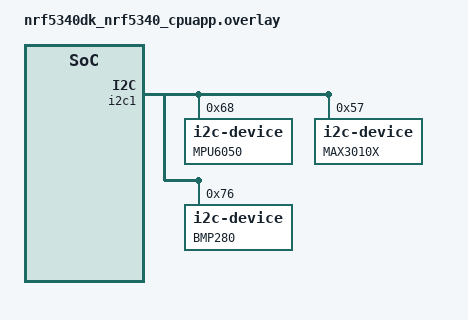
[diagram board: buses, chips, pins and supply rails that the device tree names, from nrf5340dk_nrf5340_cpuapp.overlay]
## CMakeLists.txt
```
cmake_minimum_required(VERSION 3.20.0)
find_package(Zephyr REQUIRED HINTS $ENV{ZEPHYR_BASE})

project(all_in_main)

target_sources(app PRIVATE src/main.c)
FILE(GLOB app_sources src/*.c)
target_sources(app PRIVATE ${app_sources})
```

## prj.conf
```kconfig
CONFIG_CLOCK_CONTROL_NRF_K32SRC_RC=y ###
CONFIG_I2C=y
CONFIG_PRINTK=y
CONFIG_FPU=y

CONFIG_SERIAL=n
CONFIG_LOG_BACKEND_UART=n
CONFIG_UART_CONSOLE=n
CONFIG_USE_SEGGER_RTT=y
CONFIG_LOG_BACKEND_RTT=y
CONFIG_RTT_CONSOLE=y
#CONFIG_CONSOLE=y
```

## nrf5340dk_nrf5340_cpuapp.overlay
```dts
// To get started, press Ctrl+Space to bring up the completion menu and view the available nodes.

// You can also use the buttons in the sidebar to perform actions on nodes.
// Actions currently available include:

// * Enabling / disabling the node
// * Adding the bus to a bus
// * Removing the node
// * Connecting ADC channels

// For more help, browse the DeviceTree documentation at https://docs.zephyrproject.org/latest/guides/dts/index.html
// You can also visit the nRF DeviceTree extension documentation at https://nrfconnect.github.io/vscode-nrf-connect/devicetree/nrfdevicetree.html
// below configuration for mpu6050
&i2c1{
    mpu6050:mpu6050@68{
        compatible = "i2c-device";
        reg = < 0x68 >;
        status = "okay";
        label = "MPU6050";
    };
};
// below configuration for max301012
&i2c1 {
    max3010x: max3010x@57{
        compatible = "i2c-device";
        reg = < 0x57 >;
        label = "MAX3010X";
        status = "okay";
    };
};
// below configuration for bmp280
&i2c1{
    bmp280:bmp280@76{
        compatible = "i2c-device";
        reg = < 0x76 >;
        status = "okay";
        label = "BMP280";
    };
};
```

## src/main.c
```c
#include <zephyr/kernel.h> // <>
#include "max30102.h" // ""
#include "mpu6050.h" // ""
#include "bmp280.h" // ""
#include <string.h> // <>

int main(void)
{
  //////////////////////// | Start General initilization | ///////////////////////////////////////////
  // No still
  ////////////////////////////// | End of General initilization | /////////////////////////////////////

  //////////////////////// | Start BPM280 initilization | ///////////////////////////////////////////
  
  while(!(bmp280_config())){
    printk("\033[31mFaild BPM280 initialization!!!\033[0m\r\n");
    k_msleep(1000);
  }
  
  ////////////////////////////// | End of BMP280 initilization | /////////////////////////////////////

  ////////////////////////////////| Start mpu6050 initilization | /////////////////////////////////////
  
  init_mpu6050();
  
  /////////////////////////////// | End of mpu6050 initilization | //////////////////////////////////////
  /////////////////////////////// | Start max30102 initilization | //////////////////////////////////////
  
  while(!(max30102_Begin())){
    printk("\033[31mFaild MAX30102 initialization!!!\033[0m\r\n");
    k_msleep(1000);
  }
  
  ////////////////////////////// | End of max30102 initilization | ///////////////////////////////////////
  k_msleep(500);
  while(1){
    ///////////////////////////////////| Start BMP280 work | //////////////////////////////////////////
    
    printk("\033[32m/////////////////////////////////////////////| BMP280 Sensor | ////////////////////////////////////////////////////\033[0m\r\n");
    u32 temperature=0,pressure=0;
    bmp280_read(&temperature,&pressure);
    printk("[INFO] Temperature: %u degC, Pressure: %d pa \r\n", temperature, pressure);
    k_msleep(1000);
    
    ///////////////////////////////////| End of BMP280 work | //////////////////////////////////////////
    ////////////////////////////////////| Start mpu6050 work | //////////////////////////////////////////
    
    step_counter(); // its have while loop
    
    ///////////////////////////////////| End of mpu6050 work | //////////////////////////////////////////
    ///////////////////////////////////| Start max30102 work | //////////////////////////////////////////
    
    printk("\033[32m/////////////////////////////////////////////| MAX30102 Sensor | ////////////////////////////////////////////////////\033[0m\r\n");
    char Stress[60];
    uint32_t hr=0,spo2=0;
    printk("[INFO] Red = %u | IR = %u\r\n", max30102_GetRed(), max30102_GetIR());
    if (get_hr_spo2(&hr,&spo2)){
      printk("\x1b[32m[INFO] Heart rate is %u | SPO2 is %u\x1b[0m\r\n",hr,spo2);
      k_msleep(3000);
    }
    else{
      printk("\x1b[33m[INFO] For heart rate place your finger ....!!!\x1b[0m\r\n");
    }
    printk("[INFO] Calculating stress\r\n");
    get_stress_level(Stress);
    printk("[INFO] %s\r\n",Stress);
    k_msleep(3000); 
    
    ////////////////////////////// | End of max30102 work | ///////////////////////////////////////
    
  }
  return 0;
}
//////////////////////////////////////// | End of Main Code  | ////////////////////////////////////////////////
```

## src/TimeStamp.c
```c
#include <Zephyr/kernel.h>
#include <stdio.h>
#include <stdint.h>

#define for_micro_second 1 // For micro second time stamp
#define for_milli_second 1000 // For micro second time stamp

void init_timeStamp(void)
{
    NRF_TIMER0->MODE = TIMER_MODE_MODE_Timer;  // Set the TIMER mode to Timer Mode
    NRF_TIMER0->PRESCALER = 4;                // Set the prescaler to 2^4 (16)
    NRF_TIMER0->TASKS_CLEAR = 1;              // Clear the timer
    NRF_TIMER0->BITMODE = TIMER_BITMODE_BITMODE_32Bit; // 32-bit timer mode
    NRF_TIMER0->TASKS_START = 1;             // Start the timer
} // End of void timer_init(void)
///////| (34) |///////////
uint32_t get_uTimeStamp(void)
{
    NRF_TIMER0->TASKS_CAPTURE[1] = 1;  // Trigger a capture event on CC[1]
    return NRF_TIMER0->CC[1]/for_micro_second;  // Read the captured value from CC[1]
} // End of uint32_t get_timestamp(void)
uint32_t get_mTimeStamp(void)
{
    NRF_TIMER0->TASKS_CAPTURE[1] = 1;  // Trigger a capture event on CC[1]
    return NRF_TIMER0->CC[1]/for_milli_second;  // Read the captured value from CC[1]
} // End of uint32_t get_timestamp(void)
```

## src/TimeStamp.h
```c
#ifndef USTIMESTAMP_H_
#define USTIMESTAMP_H_

#include <stdio.h>
#include <stdint.h>

void init_timeStamp(void);
uint32_t get_uTimeStamp(void);
uint32_t get_mTimeStamp(void);

#endif /* USTIMESTAMP_H_ */
```

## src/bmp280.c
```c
#include "bmp280.h"
#include <zephyr/drivers/i2c.h>

static struct bmp280_t *p_bmp280; /**< pointer to BMP280 */
u32 v_actual_press_combined_u32;
s32 v_actual_temp_combined_s32;
//  I2C init
#define I2C1_NODE DT_NODELABEL(bmp280)
static const struct i2c_dt_spec bmp_spec =  I2C_DT_SPEC_GET(I2C1_NODE);

struct bmp280_t bmp280;

BMP280_RETURN_FUNCTION_TYPE bmp280_init(struct bmp280_t *bmp280)
{
	/* variable used to return communication result*/
	BMP280_RETURN_FUNCTION_TYPE com_rslt = ERROR;
	u8 v_data_u8 = BMP280_INIT_VALUE;
	u8 v_chip_id_read_count = BMP280_CHIP_ID_READ_COUNT;

	p_bmp280 = bmp280;/* assign BMP280 ptr */

	while (v_chip_id_read_count > 0) {
		/* read chip id */
		com_rslt = p_bmp280->BMP280_BUS_READ_FUNC(BMP280_CHIP_ID_REG, &v_data_u8,
				BMP280_GEN_READ_WRITE_DATA_LENGTH);
		/* Check for the correct chip id */
		if ((v_data_u8 == BMP280_CHIP_ID1)
			|| (v_data_u8 == BMP280_CHIP_ID2)
			|| (v_data_u8 == BMP280_CHIP_ID3))
			break;
		v_chip_id_read_count--;
		/* Delay added concerning the low speed of power up system to
		facilitate the proper reading of the chip ID */
		p_bmp280->delay_msec(BMP280_REGISTER_READ_DELAY);
	}

	/*assign chip ID to the global structure*/
	p_bmp280->chip_id = v_data_u8;
	/*com_rslt status of chip ID read*/
	com_rslt = (v_chip_id_read_count == BMP280_INIT_VALUE) ?
			BMP280_CHIP_ID_READ_FAIL : BMP280_CHIP_ID_READ_SUCCESS;

	if (com_rslt == BMP280_CHIP_ID_READ_SUCCESS) {
		/* readout bmp280 calibration parameter structure */
		com_rslt += bmp280_get_calib_param();
	}
	return com_rslt;
}
s32 bmp280_compensate_temperature_int32(s32 v_uncomp_temperature_s32)
{
	s32 v_x1_u32r = BMP280_INIT_VALUE;
	s32 v_x2_u32r = BMP280_INIT_VALUE;
	s32 temperature = BMP280_INIT_VALUE;
	/* calculate true temperature*/
	/*calculate x1*/
	v_x1_u32r = ((((v_uncomp_temperature_s32
			>> BMP280_SHIFT_BIT_POSITION_BY_03_BITS)
			- ((s32)p_bmp280->calib_param.dig_T1
			<< BMP280_SHIFT_BIT_POSITION_BY_01_BIT)))
			* ((s32)p_bmp280->calib_param.dig_T2))
			>> BMP280_SHIFT_BIT_POSITION_BY_11_BITS;
	/*calculate x2*/
	v_x2_u32r = (((((v_uncomp_temperature_s32
			>> BMP280_SHIFT_BIT_POSITION_BY_04_BITS)
			- ((s32)p_bmp280->calib_param.dig_T1))
			* ((v_uncomp_temperature_s32
			>> BMP280_SHIFT_BIT_POSITION_BY_04_BITS)
			- ((s32)p_bmp280->calib_param.dig_T1)))
			>> BMP280_SHIFT_BIT_POSITION_BY_12_BITS)
			* ((s32)p_bmp280->calib_param.dig_T3))
			>> BMP280_SHIFT_BIT_POSITION_BY_14_BITS;
	/*calculate t_fine*/
	p_bmp280->calib_param.t_fine = v_x1_u32r + v_x2_u32r;
	/*calculate temperature*/
	temperature = (p_bmp280->calib_param.t_fine * 5 + 128)
			>> BMP280_SHIFT_BIT_POSITION_BY_08_BITS;

	return temperature;
}
BMP280_RETURN_FUNCTION_TYPE bmp280_read_uncomp_pressure(
		s32 *v_uncomp_pressure_s32)
{
	/* variable used to return communication result*/
	BMP280_RETURN_FUNCTION_TYPE com_rslt = ERROR;
	/* Array holding the MSB and LSb value
	 a_data_u8[0] - Pressure MSB
	 a_data_u8[1] - Pressure LSB
	 a_data_u8[2] - Pressure LSB
	 */
	u8 a_data_u8[BMP280_PRESSURE_DATA_SIZE] = {BMP280_INIT_VALUE,
			BMP280_INIT_VALUE, BMP280_INIT_VALUE};
	/* check the p_bmp280 structure pointer as NULL*/
	if (p_bmp280 == BMP280_NULL) {
		com_rslt = E_BMP280_NULL_PTR;
	} else {
		com_rslt = p_bmp280->BMP280_BUS_READ_FUNC(
				BMP280_PRESSURE_MSB_REG, a_data_u8,
				BMP280_PRESSURE_DATA_LENGTH);
		*v_uncomp_pressure_s32 = (s32)((((u32)(
				a_data_u8[BMP280_PRESSURE_MSB_DATA]))
				<< BMP280_SHIFT_BIT_POSITION_BY_12_BITS)
				| (((u32)(a_data_u8[BMP280_PRESSURE_LSB_DATA]))
				<< BMP280_SHIFT_BIT_POSITION_BY_04_BITS)
				| ((u32)a_data_u8[BMP280_PRESSURE_XLSB_DATA]
				>> BMP280_SHIFT_BIT_POSITION_BY_04_BITS));
	}
	return com_rslt;
}
u32 bmp280_compensate_pressure_int32(s32 v_uncomp_pressure_s32)
{
	s32 v_x1_u32r = BMP280_INIT_VALUE;
	s32 v_x2_u32r = BMP280_INIT_VALUE;
	u32 v_pressure_u32 = BMP280_INIT_VALUE;
	/* calculate x1*/
	v_x1_u32r = (((s32)p_bmp280->calib_param.t_fine)
			>> BMP280_SHIFT_BIT_POSITION_BY_01_BIT) - (s32)64000;
	/* calculate x2*/
	v_x2_u32r = (((v_x1_u32r >> BMP280_SHIFT_BIT_POSITION_BY_02_BITS)
			* (v_x1_u32r >> BMP280_SHIFT_BIT_POSITION_BY_02_BITS))
			>> BMP280_SHIFT_BIT_POSITION_BY_11_BITS)
			* ((s32)p_bmp280->calib_param.dig_P6);
	v_x2_u32r = v_x2_u32r + ((v_x1_u32r *
			((s32)p_bmp280->calib_param.dig_P5))
			<< BMP280_SHIFT_BIT_POSITION_BY_01_BIT);
	v_x2_u32r = (v_x2_u32r >> BMP280_SHIFT_BIT_POSITION_BY_02_BITS)
			+ (((s32)p_bmp280->calib_param.dig_P4)
			<< BMP280_SHIFT_BIT_POSITION_BY_16_BITS);
	/* calculate x1*/
	v_x1_u32r = (((p_bmp280->calib_param.dig_P3
			* (((v_x1_u32r
			>> BMP280_SHIFT_BIT_POSITION_BY_02_BITS) * (v_x1_u32r
			>> BMP280_SHIFT_BIT_POSITION_BY_02_BITS))
			>> BMP280_SHIFT_BIT_POSITION_BY_13_BITS))
			>> BMP280_SHIFT_BIT_POSITION_BY_03_BITS)
			+ ((((s32)p_bmp280->calib_param.dig_P2)
			* v_x1_u32r)
			>> BMP280_SHIFT_BIT_POSITION_BY_01_BIT))
			>> BMP280_SHIFT_BIT_POSITION_BY_18_BITS;
	v_x1_u32r = ((((32768 + v_x1_u32r))
			* ((s32)p_bmp280->calib_param.dig_P1))
			>> BMP280_SHIFT_BIT_POSITION_BY_15_BITS);
	/* calculate pressure*/
	v_pressure_u32 = (((u32)(((s32)1048576) - v_uncomp_pressure_s32)
			- (v_x2_u32r >> BMP280_SHIFT_BIT_POSITION_BY_12_BITS)))
			* 3125;
	/* check overflow*/
	if (v_pressure_u32 < 0x80000000)
		/* Avoid exception caused by division by zero */
		if (v_x1_u32r != BMP280_INIT_VALUE)
			v_pressure_u32 = (v_pressure_u32
					<< BMP280_SHIFT_BIT_POSITION_BY_01_BIT)
					/ ((u32)v_x1_u32r);
		else
			return BMP280_INVALID_DATA;
	else
	/* Avoid exception caused by division by zero */
	if (v_x1_u32r != BMP280_INIT_VALUE)
		v_pressure_u32 = (v_pressure_u32 / (u32)v_x1_u32r) * 2;
	else
		return BMP280_INVALID_DATA;
	/* calculate x1*/
	v_x1_u32r = (((s32)p_bmp280->calib_param.dig_P9) * ((s32)(
			((v_pressure_u32
			>> BMP280_SHIFT_BIT_POSITION_BY_03_BITS)
			* (v_pressure_u32
			>> BMP280_SHIFT_BIT_POSITION_BY_03_BITS))
			>> BMP280_SHIFT_BIT_POSITION_BY_13_BITS)))
			>> BMP280_SHIFT_BIT_POSITION_BY_12_BITS;
	/* calculate x2*/
	v_x2_u32r = (((s32)(v_pressure_u32 >>
			BMP280_SHIFT_BIT_POSITION_BY_02_BITS))
			* ((s32)p_bmp280->calib_param.dig_P8))
			>> BMP280_SHIFT_BIT_POSITION_BY_13_BITS;
	/* calculate true pressure*/
	v_pressure_u32 = (u32)((s32)v_pressure_u32 + ((v_x1_u32r + v_x2_u32r
			+ p_bmp280->calib_param.dig_P7)
			>> BMP280_SHIFT_BIT_POSITION_BY_04_BITS));

	return v_pressure_u32;
}
BMP280_RETURN_FUNCTION_TYPE bmp280_read_uncomp_pressure_temperature(
		s32 *v_uncomp_pressure_s32, s32 *v_uncomp_temperature_s32)
{
	/* variable used to return communication result*/
	BMP280_RETURN_FUNCTION_TYPE com_rslt = ERROR;
	u8 a_data_u8[BMP280_ALL_DATA_FRAME_LENGTH] = {BMP280_INIT_VALUE,
			BMP280_INIT_VALUE, BMP280_INIT_VALUE, BMP280_INIT_VALUE,
			BMP280_INIT_VALUE, BMP280_INIT_VALUE};
	/* check the p_bmp280 structure pointer as NULL*/
	if (p_bmp280 == BMP280_NULL) {
		com_rslt = E_BMP280_NULL_PTR;
	} else {
                        com_rslt = p_bmp280->BMP280_BUS_READ_FUNC(
				BMP280_PRESSURE_MSB_REG, a_data_u8,
				BMP280_DATA_FRAME_SIZE);
                /*Pressure*/
		*v_uncomp_pressure_s32 = (s32)((((u32)(
				a_data_u8[BMP280_DATA_FRAME_PRESSURE_MSB_BYTE]))
				<< BMP280_SHIFT_BIT_POSITION_BY_12_BITS)
				| (((u32)(
				a_data_u8[BMP280_DATA_FRAME_PRESSURE_LSB_BYTE]))
				<< BMP280_SHIFT_BIT_POSITION_BY_04_BITS)
				| ((u32)a_data_u8[
				BMP280_DATA_FRAME_PRESSURE_XLSB_BYTE]
				>> BMP280_SHIFT_BIT_POSITION_BY_04_BITS));

		/* Temperature */
		*v_uncomp_temperature_s32 = (s32)((((u32)(a_data_u8[
				BMP280_DATA_FRAME_TEMPERATURE_MSB_BYTE]))
				<< BMP280_SHIFT_BIT_POSITION_BY_12_BITS)
				| (((u32)(a_data_u8[
				BMP280_DATA_FRAME_TEMPERATURE_LSB_BYTE]))
				<< BMP280_SHIFT_BIT_POSITION_BY_04_BITS)
				| ((u32)a_data_u8[
				BMP280_DATA_FRAME_TEMPERATURE_XLSB_BYTE]
				>> BMP280_SHIFT_BIT_POSITION_BY_04_BITS));
	}
	return com_rslt;
}
BMP280_RETURN_FUNCTION_TYPE bmp280_read_pressure_temperature(
		u32 *v_pressure_u32, s32 *v_temperature_s32)
{
	/* variable used to return communication result*/
	BMP280_RETURN_FUNCTION_TYPE com_rslt = ERROR;
	s32 v_uncomp_pressure_s32 = BMP280_INIT_VALUE;
	s32 v_uncomp_temperature_s32 = BMP280_INIT_VALUE;
	/* check the p_bmp280 structure pointer as NULL*/
	if (p_bmp280 == BMP280_NULL) {
		com_rslt = E_BMP280_NULL_PTR;
	} else {
		/* read uncompensated pressure and temperature*/
		com_rslt = bmp280_read_uncomp_pressure_temperature(
				&v_uncomp_pressure_s32,
				&v_uncomp_temperature_s32);
		/* read true pressure and temperature*/
		*v_temperature_s32 = bmp280_compensate_temperature_int32(
				v_uncomp_temperature_s32);
		*v_pressure_u32 = bmp280_compensate_pressure_int32(
				v_uncomp_pressure_s32);
	}
	return com_rslt;
}
BMP280_RETURN_FUNCTION_TYPE bmp280_get_calib_param(void)
{
	/* variable used to return communication result*/
	BMP280_RETURN_FUNCTION_TYPE com_rslt = ERROR;
	u8 a_data_u8[BMP280_CALIB_DATA_SIZE] = {BMP280_INIT_VALUE,
			BMP280_INIT_VALUE, BMP280_INIT_VALUE, BMP280_INIT_VALUE,
			BMP280_INIT_VALUE, BMP280_INIT_VALUE, BMP280_INIT_VALUE,
			BMP280_INIT_VALUE, BMP280_INIT_VALUE, BMP280_INIT_VALUE,
			BMP280_INIT_VALUE, BMP280_INIT_VALUE, BMP280_INIT_VALUE,
			BMP280_INIT_VALUE, BMP280_INIT_VALUE, BMP280_INIT_VALUE,
			BMP280_INIT_VALUE, BMP280_INIT_VALUE, BMP280_INIT_VALUE,
			BMP280_INIT_VALUE, BMP280_INIT_VALUE, BMP280_INIT_VALUE,
			BMP280_INIT_VALUE, BMP280_INIT_VALUE};
	/* check the p_bmp280 structure pointer as NULL*/
	if (p_bmp280 == BMP280_NULL) {
		com_rslt = E_BMP280_NULL_PTR;
	} else {
				
                        com_rslt = p_bmp280->BMP280_BUS_READ_FUNC(BMP280_TEMPERATURE_CALIB_DIG_T1_LSB_REG,
				a_data_u8,
				BMP280_PRESSURE_TEMPERATURE_CALIB_DATA_LENGTH);
		/* read calibration values*/
		p_bmp280->calib_param.dig_T1 = (u16)((((u16)((u8)a_data_u8[
					BMP280_TEMPERATURE_CALIB_DIG_T1_MSB]))
					<< BMP280_SHIFT_BIT_POSITION_BY_08_BITS)
					| a_data_u8[
					BMP280_TEMPERATURE_CALIB_DIG_T1_LSB]);
		p_bmp280->calib_param.dig_T2 = (s16)((((s16)((s8)a_data_u8[
					BMP280_TEMPERATURE_CALIB_DIG_T2_MSB]))
					<< BMP280_SHIFT_BIT_POSITION_BY_08_BITS)
					| a_data_u8[
					BMP280_TEMPERATURE_CALIB_DIG_T2_LSB]);
		p_bmp280->calib_param.dig_T3 = (s16)((((s16)((s8)a_data_u8[
					BMP280_TEMPERATURE_CALIB_DIG_T3_MSB]))
					<< BMP280_SHIFT_BIT_POSITION_BY_08_BITS)
					| a_data_u8[
					BMP280_TEMPERATURE_CALIB_DIG_T3_LSB]);
		p_bmp280->calib_param.dig_P1 = (u16)((((u16)((u8)a_data_u8[
					BMP280_PRESSURE_CALIB_DIG_P1_MSB]))
					<< BMP280_SHIFT_BIT_POSITION_BY_08_BITS)
					| a_data_u8[
					BMP280_PRESSURE_CALIB_DIG_P1_LSB]);
		p_bmp280->calib_param.dig_P2 = (s16)((((s16)((s8)a_data_u8[
					BMP280_PRESSURE_CALIB_DIG_P2_MSB]))
					<< BMP280_SHIFT_BIT_POSITION_BY_08_BITS)
					| a_data_u8[
					BMP280_PRESSURE_CALIB_DIG_P2_LSB]);
		p_bmp280->calib_param.dig_P3 = (s16)((((s16)((s8)a_data_u8[
					BMP280_PRESSURE_CALIB_DIG_P3_MSB]))
					<< BMP280_SHIFT_BIT_POSITION_BY_08_BITS)
					| a_data_u8[
					BMP280_PRESSURE_CALIB_DIG_P3_LSB]);
		p_bmp280->calib_param.dig_P4 = (s16)((((s16)((s8)a_data_u8[
					BMP280_PRESSURE_CALIB_DIG_P4_MSB]))
					<< BMP280_SHIFT_BIT_POSITION_BY_08_BITS)
					| a_data_u8[
					BMP280_PRESSURE_CALIB_DIG_P4_LSB]);
		p_bmp280->calib_param.dig_P5 = (s16)((((s16)((s8)a_data_u8[
					BMP280_PRESSURE_CALIB_DIG_P5_MSB]))
					<< BMP280_SHIFT_BIT_POSITION_BY_08_BITS)
					| a_data_u8[
					BMP280_PRESSURE_CALIB_DIG_P5_LSB]);
		p_bmp280->calib_param.dig_P6 = (s16)((((s16)((s8)a_data_u8[
					BMP280_PRESSURE_CALIB_DIG_P6_MSB]))
					<< BMP280_SHIFT_BIT_POSITION_BY_08_BITS)
					| a_data_u8[
					BMP280_PRESSURE_CALIB_DIG_P6_LSB]);
		p_bmp280->calib_param.dig_P7 = (s16)((((s16)((s8)a_data_u8[
					BMP280_PRESSURE_CALIB_DIG_P7_MSB]))
					<< BMP280_SHIFT_BIT_POSITION_BY_08_BITS)
					| a_data_u8[
					BMP280_PRESSURE_CALIB_DIG_P7_LSB]);
		p_bmp280->calib_param.dig_P8 = (s16)((((s16)((s8)a_data_u8[
					BMP280_PRESSURE_CALIB_DIG_P8_MSB]))
					<< BMP280_SHIFT_BIT_POSITION_BY_08_BITS)
					| a_data_u8[
					BMP280_PRESSURE_CALIB_DIG_P8_LSB]);
		p_bmp280->calib_param.dig_P9 = (s16)((((s16)((s8)a_data_u8[
					BMP280_PRESSURE_CALIB_DIG_P9_MSB]))
					<< BMP280_SHIFT_BIT_POSITION_BY_08_BITS)
					| a_data_u8[
					BMP280_PRESSURE_CALIB_DIG_P9_LSB]);
	}
	return com_rslt;
}
BMP280_RETURN_FUNCTION_TYPE bmp280_set_power_mode(u8 v_power_mode_u8)
{
	/* variable used to return communication result*/
	BMP280_RETURN_FUNCTION_TYPE com_rslt = ERROR;
	u8 v_mode_u8 = BMP280_INIT_VALUE;
        
	/* check the p_bmp280 structure pointer as NULL*/
	if (p_bmp280 == BMP280_NULL) {
		com_rslt = E_BMP280_NULL_PTR;
	} else {
		if (v_power_mode_u8 <= BMP280_NORMAL_MODE) {
			/* write the power mode*/
			v_mode_u8 = (p_bmp280->oversamp_temperature
					<< BMP280_SHIFT_BIT_POSITION_BY_05_BITS)
					+ (p_bmp280->oversamp_pressure
					<< BMP280_SHIFT_BIT_POSITION_BY_02_BITS)
					+ v_power_mode_u8;
                                        //u8 arraY[2] = {BMP280_CTRL_MEAS_REG_POWER_MODE__REG,v_mode_u8};
                            com_rslt = p_bmp280->BMP280_BUS_WRITE_FUNC(
					BMP280_CTRL_MEAS_REG_POWER_MODE__REG,
					&v_mode_u8,
					BMP280_GEN_READ_WRITE_DATA_LENGTH);
		            //com_rslt = nrf_drv_twi_rx(&m_twi,p_bmp280->dev_addr,&v_mode_u8,BMP280_GEN_READ_WRITE_DATA_LENGTH);
		} else {
			com_rslt = E_BMP280_OUT_OF_RANGE;
		}
	}
	return com_rslt;
}
BMP280_RETURN_FUNCTION_TYPE bmp280_set_filter(u8 v_value_u8)
{
	BMP280_RETURN_FUNCTION_TYPE com_rslt = SUCCESS;
	u8 v_data_u8 = BMP280_INIT_VALUE;
	/* check the p_bmp280 structure pointer as NULL*/
	if (p_bmp280 == BMP280_NULL) {
		com_rslt = E_BMP280_NULL_PTR;
	} else {
		/* write filter*/
			com_rslt = p_bmp280->BMP280_BUS_READ_FUNC(
				BMP280_CONFIG_REG_FILTER__REG, &v_data_u8,
				BMP280_GEN_READ_WRITE_DATA_LENGTH);

		if (com_rslt == SUCCESS) {
			v_data_u8 = BMP280_SET_BITSLICE(v_data_u8,
					BMP280_CONFIG_REG_FILTER, v_value_u8);
			com_rslt += p_bmp280->BMP280_BUS_WRITE_FUNC(
					BMP280_CONFIG_REG_FILTER__REG,
					&v_data_u8,
					BMP280_GEN_READ_WRITE_DATA_LENGTH);
		}
	}
	return com_rslt;
}
BMP280_RETURN_FUNCTION_TYPE bmp280_set_standby_durn(u8 v_standby_durn_u8)
{
	/* variable used to return communication result*/
	BMP280_RETURN_FUNCTION_TYPE com_rslt = ERROR;
	u8 v_data_u8 = BMP280_INIT_VALUE;
	/* check the p_bmp280 structure pointer as NULL*/
	if (p_bmp280 == BMP280_NULL) {
		com_rslt = E_BMP280_NULL_PTR;
	} else {
		/* write the standby duration*/
			com_rslt = p_bmp280->BMP280_BUS_READ_FUNC(
				BMP280_CONFIG_REG_STANDBY_DURN__REG, &v_data_u8,
				BMP280_GEN_READ_WRITE_DATA_LENGTH);
		if (com_rslt == SUCCESS) {
			v_data_u8 = BMP280_SET_BITSLICE(v_data_u8,
					BMP280_CONFIG_REG_STANDBY_DURN,
					v_standby_durn_u8);
			com_rslt += p_bmp280->BMP280_BUS_WRITE_FUNC(
					BMP280_CONFIG_REG_STANDBY_DURN__REG,
					&v_data_u8,
					BMP280_GEN_READ_WRITE_DATA_LENGTH);
		}
	}
	return com_rslt;
}
BMP280_RETURN_FUNCTION_TYPE bmp280_set_work_mode(u8 v_work_mode_u8)
{
	/* variable used to return communication result*/
	BMP280_RETURN_FUNCTION_TYPE com_rslt = ERROR;
	u8 v_data_u8 = BMP280_INIT_VALUE;
	/* check the p_bmp280 structure pointer as NULL*/
	if (p_bmp280 == BMP280_NULL) {
		com_rslt = E_BMP280_NULL_PTR;
	} else {
	if (v_work_mode_u8 <= BMP280_ULTRA_HIGH_RESOLUTION_MODE) {
			com_rslt = p_bmp280->BMP280_BUS_READ_FUNC(
				BMP280_CTRL_MEAS_REG, &v_data_u8,
				BMP280_GEN_READ_WRITE_DATA_LENGTH);
		if (com_rslt == SUCCESS) {
			switch (v_work_mode_u8) {
			/* write work mode*/
			case BMP280_ULTRA_LOW_POWER_MODE:
				p_bmp280->oversamp_temperature =
				BMP280_ULTRALOWPOWER_OVERSAMP_TEMPERATURE;
				p_bmp280->oversamp_pressure =
					BMP280_ULTRALOWPOWER_OVERSAMP_PRESSURE;
				break;
			case BMP280_LOW_POWER_MODE:
				p_bmp280->oversamp_temperature =
					BMP280_LOWPOWER_OVERSAMP_TEMPERATURE;
				p_bmp280->oversamp_pressure =
					BMP280_LOWPOWER_OVERSAMP_PRESSURE;
				break;
			case BMP280_STANDARD_RESOLUTION_MODE:
				p_bmp280->oversamp_temperature =
				BMP280_STANDARDRESOLUTION_OVERSAMP_TEMPERATURE;
				p_bmp280->oversamp_pressure =
				BMP280_STANDARDRESOLUTION_OVERSAMP_PRESSURE;
				break;
			case BMP280_HIGH_RESOLUTION_MODE:
				p_bmp280->oversamp_temperature =
				BMP280_HIGHRESOLUTION_OVERSAMP_TEMPERATURE;
				p_bmp280->oversamp_pressure =
				BMP280_HIGHRESOLUTION_OVERSAMP_PRESSURE;
				break;
			case BMP280_ULTRA_HIGH_RESOLUTION_MODE:
				p_bmp280->oversamp_temperature =
				BMP280_ULTRAHIGHRESOLUTION_OVERSAMP_TEMPERATURE;
				p_bmp280->oversamp_pressure =
				BMP280_ULTRAHIGHRESOLUTION_OVERSAMP_PRESSURE;
				break;
			}
			v_data_u8 = BMP280_SET_BITSLICE(v_data_u8,
				BMP280_CTRL_MEAS_REG_OVERSAMP_TEMPERATURE,
				p_bmp280->oversamp_temperature);
			v_data_u8 = BMP280_SET_BITSLICE(v_data_u8,
				BMP280_CTRL_MEAS_REG_OVERSAMP_PRESSURE,
				p_bmp280->oversamp_pressure);
			com_rslt += p_bmp280->BMP280_BUS_WRITE_FUNC(BMP280_CTRL_MEAS_REG,
				&v_data_u8, BMP280_GEN_READ_WRITE_DATA_LENGTH);
		}
	} else {
		com_rslt = E_BMP280_OUT_OF_RANGE;
	}
	}
	return com_rslt;
}
void bmp280_read(u32 *temp, u32 *press)
{
    // Signal on LED that something is going on.
    s32 com_rslt = ERROR;
    v_actual_press_combined_u32 = BMP280_INIT_VALUE;
    v_actual_temp_combined_s32 = BMP280_INIT_VALUE;
    com_rslt = bmp280_read_pressure_temperature(&v_actual_press_combined_u32, &v_actual_temp_combined_s32);
    v_actual_temp_combined_s32 /= 100;
	*temp = v_actual_temp_combined_s32;
	*press = v_actual_press_combined_u32;
}

s8 BMP280_I2C_bus_write(u8 reg_addr, u8 *reg_data, u8 cnt)
{
	s32 iError = BMP280_INIT_VALUE;
	u8 array[I2C_BUFFER_LEN];
	u8 stringpos = BMP280_INIT_VALUE;
	array[BMP280_INIT_VALUE] = reg_addr;
	for (stringpos = BMP280_INIT_VALUE; stringpos < cnt; stringpos++) {
		array[stringpos + BMP280_DATA_INDEX] = *(reg_data + stringpos);
	}
	i2c_write_dt(&bmp_spec,array,cnt+1);
     if (reg_addr < 0xF7) {
         //printk("W %X %X %X %X\r\n", dev_addr, reg_addr, cnt, err_code);
         //NRF_LOG_HEXDUMP_INFO(reg_data, cnt);
         //NRF_LOG_FLUSH();
     }

	return (s8)iError;
}

s8 BMP280_I2C_bus_read(u8 reg_addr, u8 *reg_data, u8 cnt)
{
	s32 iError = BMP280_INIT_VALUE;
	u8 arraY[I2C_BUFFER_LEN] = {BMP280_INIT_VALUE};
	u8 stringpos = BMP280_INIT_VALUE;
	arraY[BMP280_INIT_VALUE] = reg_addr;

	i2c_write_read_dt(&bmp_spec,&reg_addr,sizeof(reg_addr),arraY,sizeof(arraY));
    //APP_ERROR_CHECK(err_code);
     if (reg_addr < 0xF7) {
         //printk("R %X %X %X %X\r\n", dev_addr, reg_addr, cnt, err_code);
         //NRF_LOG_HEXDUMP_INFO(array, cnt);
         //NRF_LOG_FLUSH();
     }

	for (stringpos = BMP280_INIT_VALUE; stringpos < cnt; stringpos++) {
		*(reg_data + stringpos) = arraY[stringpos];
	}

	return (s8)iError;
}

void BMP280_delay_msek(u32 msek)
{
	k_msleep(msek);
}

bool bmp280_config(void)
{
	if(i2c_is_ready_dt(&bmp_spec)){ // Start of check i2c initilization
	    char array[1] = {NULL};
		if(i2c_write_dt(&bmp_spec,array,sizeof(array))){
			return false;
		}
		else{}
    }
    else{
		return false;
	} // End of check i2c initilization
	bmp280.bus_write = BMP280_I2C_bus_write;
	bmp280.bus_read = BMP280_I2C_bus_read;
	bmp280.dev_addr = BMP280_I2C_ADDRESS1;
	bmp280.delay_msec = BMP280_delay_msek;

    s32 com_rslt = ERROR;
    com_rslt = bmp280_init(&bmp280); //important to check this
    com_rslt += bmp280_set_power_mode(BMP280_SLEEP_MODE);
    com_rslt += bmp280_set_work_mode(BMP280_ULTRA_HIGH_RESOLUTION_MODE);
    com_rslt += bmp280_set_filter(BMP280_FILTER_COEFF_16);
    com_rslt += bmp280_set_standby_durn(BMP280_STANDBY_TIME_1_MS);
    com_rslt += bmp280_set_power_mode(BMP280_NORMAL_MODE);/// I am here now 18/08/2023//04:45PM
    //APP_ERROR_CHECK(com_rslt);

     u8 data[4];
	 unsigned char write_value = 0xF2;
	 i2c_write_read_dt(&bmp_spec,&write_value,BMP280_GEN_READ_WRITE_DATA_LENGTH,&data,sizeof(data));
	 return true;
}
```

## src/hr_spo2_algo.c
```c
#include <stdint.h>
#include "hr_spo2_algo.h"

static  int32_t an_x[ BUFFER_SIZE]; //ir
static  int32_t an_y[ BUFFER_SIZE]; //red

//uch_spo2_table is approximated as  -45.060*ratioAverage* ratioAverage + 30.354 *ratioAverage + 94.845 ;
const uint8_t uch_spo2_table[184]={ 95, 95, 95, 96, 96, 96, 97, 97, 97, 97, 97, 98, 98, 98, 98, 98, 99, 99, 99, 99,
              99, 99, 99, 99, 100, 100, 100, 100, 100, 100, 100, 100, 100, 100, 100, 100, 100, 100, 100, 100,
              100, 100, 100, 100, 99, 99, 99, 99, 99, 99, 99, 99, 98, 98, 98, 98, 98, 98, 97, 97,
              97, 97, 96, 96, 96, 96, 95, 95, 95, 94, 94, 94, 93, 93, 93, 92, 92, 92, 91, 91,
              90, 90, 89, 89, 89, 88, 88, 87, 87, 86, 86, 85, 85, 84, 84, 83, 82, 82, 81, 81,
              80, 80, 79, 78, 78, 77, 76, 76, 75, 74, 74, 73, 72, 72, 71, 70, 69, 69, 68, 67,
              66, 66, 65, 64, 63, 62, 62, 61, 60, 59, 58, 57, 56, 56, 55, 54, 53, 52, 51, 50,
              49, 48, 47, 46, 45, 44, 43, 42, 41, 40, 39, 38, 37, 36, 35, 34, 33, 31, 30, 29,
              28, 27, 26, 25, 23, 22, 21, 20, 19, 17, 16, 15, 14, 12, 11, 10, 9, 7, 6, 5,
              3, 2, 1 };

void maxim_heart_rate_and_oxygen_saturation(uint32_t *pun_ir_buffer, int32_t n_ir_buffer_length, uint32_t *pun_red_buffer, int32_t *pn_spo2, int8_t *pch_spo2_valid,
                int32_t *pn_heart_rate, int8_t *pch_hr_valid)
/**
* \brief        Calculate the heart rate and SpO2 level
* \par          Details
*               By detecting  peaks of PPG cycle and corresponding AC/DC of red/infra-red signal, the an_ratio for the SPO2 is computed.
*               Since this algorithm is aiming for Arm M0/M3. formaula for SPO2 did not achieve the accuracy due to register overflow.
*               Thus, accurate SPO2 is precalculated and save longo uch_spo2_table[] per each an_ratio.
*
* \param[in]    *pun_ir_buffer           - IR sensor data buffer
* \param[in]    n_ir_buffer_length      - IR sensor data buffer length
* \param[in]    *pun_red_buffer          - Red sensor data buffer
* \param[out]    *pn_spo2                - Calculated SpO2 value
* \param[out]    *pch_spo2_valid         - 1 if the calculated SpO2 value is valid
* \param[out]    *pn_heart_rate          - Calculated heart rate value
* \param[out]    *pch_hr_valid           - 1 if the calculated heart rate value is valid
*
* \retval       None
*/
{
  uint32_t un_ir_mean;
  int32_t k, n_i_ratio_count;
  int32_t i, n_exact_ir_valley_locs_count, n_middle_idx;
  int32_t n_th1, n_npks;
  int32_t an_ir_valley_locs[15] ;
  int32_t n_peak_interval_sum;

  int32_t n_y_ac, n_x_ac;
  int32_t n_spo2_calc;
  int32_t n_y_dc_max, n_x_dc_max;
  int32_t n_y_dc_max_idx, n_x_dc_max_idx;
  int32_t an_ratio[5], n_ratio_average;
  int32_t n_nume, n_denom ;

  // calculates DC mean and subtract DC from ir
  un_ir_mean =0;
  for (k=0 ; k<n_ir_buffer_length ; k++ ) un_ir_mean += pun_ir_buffer[k] ;
  un_ir_mean =un_ir_mean/n_ir_buffer_length ;

  // remove DC and invert signal so that we can use peak detector as valley detector
  for (k=0 ; k<n_ir_buffer_length ; k++ )
    an_x[k] = -1*(pun_ir_buffer[k] - un_ir_mean) ;

  // 4 pt Moving Average
  for(k=0; k< BUFFER_SIZE-MA4_SIZE; k++){
    an_x[k]=( an_x[k]+an_x[k+1]+ an_x[k+2]+ an_x[k+3])/(int)4;
  }
  // calculate threshold
  n_th1=0;
  for ( k=0 ; k<BUFFER_SIZE ;k++){
    n_th1 +=  an_x[k];
  }
  n_th1=  n_th1/ ( BUFFER_SIZE);
  if( n_th1<30) n_th1=30; // min allowed
  if( n_th1>60) n_th1=60; // max allowed

  for ( k=0 ; k<15;k++) an_ir_valley_locs[k]=0;
  // since we flipped signal, we use peak detector as valley detector
  maxim_find_peaks( an_ir_valley_locs, &n_npks, an_x, BUFFER_SIZE, n_th1, 4, 15 );//peak_height, peak_distance, max_num_peaks
  n_peak_interval_sum =0;
  if (n_npks>=2){
    for (k=1; k<n_npks; k++) n_peak_interval_sum += (an_ir_valley_locs[k] -an_ir_valley_locs[k -1] ) ;
    n_peak_interval_sum =n_peak_interval_sum/(n_npks-1);
    *pn_heart_rate =(int32_t)( (FS*60)/ n_peak_interval_sum );
    *pch_hr_valid  = 1;
  }
  else  {
    *pn_heart_rate = -999; // unable to calculate because # of peaks are too small
    *pch_hr_valid  = 0;
  }

  //  load raw value again for SPO2 calculation : RED(=y) and IR(=X)
  for (k=0 ; k<n_ir_buffer_length ; k++ )  {
      an_x[k] =  pun_ir_buffer[k] ;
      an_y[k] =  pun_red_buffer[k] ;
  }

  // find precise min near an_ir_valley_locs
  n_exact_ir_valley_locs_count =n_npks;

  //using exact_ir_valley_locs , find ir-red DC andir-red AC for SPO2 calibration an_ratio
  //finding AC/DC maximum of raw

  n_ratio_average =0;
  n_i_ratio_count = 0;
  for(k=0; k< 5; k++) an_ratio[k]=0;
  for (k=0; k< n_exact_ir_valley_locs_count; k++){
    if (an_ir_valley_locs[k] > BUFFER_SIZE ){
      *pn_spo2 =  -999 ; // do not use SPO2 since valley loc is out of range
      *pch_spo2_valid  = 0;
      return;
    }
  }
  // find max between two valley locations
  // and use an_ratio betwen AC compoent of Ir & Red and DC compoent of Ir & Red for SPO2
  for (k=0; k< n_exact_ir_valley_locs_count-1; k++){
    n_y_dc_max= -16777216 ;
    n_x_dc_max= -16777216;
    if (an_ir_valley_locs[k+1]-an_ir_valley_locs[k] >3){
        for (i=an_ir_valley_locs[k]; i< an_ir_valley_locs[k+1]; i++){
          if (an_x[i]> n_x_dc_max) {n_x_dc_max =an_x[i]; n_x_dc_max_idx=i;}
          if (an_y[i]> n_y_dc_max) {n_y_dc_max =an_y[i]; n_y_dc_max_idx=i;}
      }
      n_y_ac= (an_y[an_ir_valley_locs[k+1]] - an_y[an_ir_valley_locs[k] ] )*(n_y_dc_max_idx -an_ir_valley_locs[k]); //red
      n_y_ac=  an_y[an_ir_valley_locs[k]] + n_y_ac/ (an_ir_valley_locs[k+1] - an_ir_valley_locs[k])  ;
      n_y_ac=  an_y[n_y_dc_max_idx] - n_y_ac;    // subracting linear DC compoenents from raw
      n_x_ac= (an_x[an_ir_valley_locs[k+1]] - an_x[an_ir_valley_locs[k] ] )*(n_x_dc_max_idx -an_ir_valley_locs[k]); // ir
      n_x_ac=  an_x[an_ir_valley_locs[k]] + n_x_ac/ (an_ir_valley_locs[k+1] - an_ir_valley_locs[k]);
      n_x_ac=  an_x[n_y_dc_max_idx] - n_x_ac;      // subracting linear DC compoenents from raw
      n_nume=( n_y_ac *n_x_dc_max)>>7 ; //prepare X100 to preserve floating value
      n_denom= ( n_x_ac *n_y_dc_max)>>7;
      if (n_denom>0  && n_i_ratio_count <5 &&  n_nume != 0)
      {
        an_ratio[n_i_ratio_count]= (n_nume*100)/n_denom ; //formular is ( n_y_ac *n_x_dc_max) / ( n_x_ac *n_y_dc_max) ;
        n_i_ratio_count++;
      }
    }
  }
  // choose median value since PPG signal may varies from beat to beat
  maxim_sort_ascend(an_ratio, n_i_ratio_count);
  n_middle_idx= n_i_ratio_count/2;

  if (n_middle_idx >1)
    n_ratio_average =( an_ratio[n_middle_idx-1] +an_ratio[n_middle_idx])/2; // use median
  else
    n_ratio_average = an_ratio[n_middle_idx ];

  if( n_ratio_average>2 && n_ratio_average <184){
    n_spo2_calc= uch_spo2_table[n_ratio_average] ;
    *pn_spo2 = n_spo2_calc ;
    *pch_spo2_valid  = 1;//  float_SPO2 =  -45.060*n_ratio_average* n_ratio_average/10000 + 30.354 *n_ratio_average/100 + 94.845 ;  // for comparison with table
  }
  else{
    *pn_spo2 =  -999 ; // do not use SPO2 since signal an_ratio is out of range
    *pch_spo2_valid  = 0;
  }
}


void maxim_find_peaks( int32_t *pn_locs, int32_t *n_npks,  int32_t  *pn_x, int32_t n_size, int32_t n_min_height, int32_t n_min_distance, int32_t n_max_num )
/**
* \brief        Find peaks
* \par          Details
*               Find at most MAX_NUM peaks above MIN_HEIGHT separated by at least MIN_DISTANCE
*
* \retval       None
*/
{
  maxim_peaks_above_min_height( pn_locs, n_npks, pn_x, n_size, n_min_height );
  maxim_remove_close_peaks( pn_locs, n_npks, pn_x, n_min_distance );
  *n_npks = min( *n_npks, n_max_num );
}

void maxim_peaks_above_min_height( int32_t *pn_locs, int32_t *n_npks,  int32_t  *pn_x, int32_t n_size, int32_t n_min_height )
/**
* \brief        Find peaks above n_min_height
* \par          Details
*               Find all peaks above MIN_HEIGHT
*
* \retval       None
*/
{
  int32_t i = 1, n_width;
  *n_npks = 0;

  while (i < n_size-1){
    if (pn_x[i] > n_min_height && pn_x[i] > pn_x[i-1]){      // find left edge of potential peaks
      n_width = 1;
      while (i+n_width < n_size && pn_x[i] == pn_x[i+n_width])  // find flat peaks
        n_width++;
      if (pn_x[i] > pn_x[i+n_width] && (*n_npks) < 15 ){      // find right edge of peaks
        pn_locs[(*n_npks)++] = i;
        // for flat peaks, peak location is left edge
        i += n_width+1;
      }
      else
        i += n_width;
    }
    else
      i++;
  }
}

void maxim_remove_close_peaks(int32_t *pn_locs, int32_t *pn_npks, int32_t *pn_x, int32_t n_min_distance)
/**
* \brief        Remove peaks
* \par          Details
*               Remove peaks separated by less than MIN_DISTANCE
*
* \retval       None
*/
{

  int32_t i, j, n_old_npks, n_dist;

  /* Order peaks from large to small */
  maxim_sort_indices_descend( pn_x, pn_locs, *pn_npks );

  for ( i = -1; i < *pn_npks; i++ ){
    n_old_npks = *pn_npks;
    *pn_npks = i+1;
    for ( j = i+1; j < n_old_npks; j++ ){
      n_dist =  pn_locs[j] - ( i == -1 ? -1 : pn_locs[i] ); // lag-zero peak of autocorr is at index -1
      if ( n_dist > n_min_distance || n_dist < -n_min_distance )
        pn_locs[(*pn_npks)++] = pn_locs[j];
    }
  }

  // Resort indices int32_to ascending order
  maxim_sort_ascend( pn_locs, *pn_npks );
}

void maxim_sort_ascend(int32_t  *pn_x, int32_t n_size)
/**
* \brief        Sort array
* \par          Details
*               Sort array in ascending order (insertion sort algorithm)
*
* \retval       None
*/
{
  int32_t i, j, n_temp;
  for (i = 1; i < n_size; i++) {
    n_temp = pn_x[i];
    for (j = i; j > 0 && n_temp < pn_x[j-1]; j--)
        pn_x[j] = pn_x[j-1];
    pn_x[j] = n_temp;
  }
}

void maxim_sort_indices_descend(  int32_t  *pn_x, int32_t *pn_indx, int32_t n_size)
/**
* \brief        Sort indices
* \par          Details
*               Sort indices according to descending order (insertion sort algorithm)
*
* \retval       None
*/
{
  int32_t i, j, n_temp;
  for (i = 1; i < n_size; i++) {
    n_temp = pn_indx[i];
    for (j = i; j > 0 && pn_x[n_temp] > pn_x[pn_indx[j-1]]; j--)
      pn_indx[j] = pn_indx[j-1];
    pn_indx[j] = n_temp;
  }
}
```

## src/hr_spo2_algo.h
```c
#ifndef HR_SPO2_ALGO_H_
#define HR_SPO2_ALGO_H_
#include <stdint.h>

#define true 1
#define false 0
#define FS 25    //sampling frequency
#define BUFFER_SIZE  (FS* 4)
#define MA4_SIZE  4 // DONOT CHANGE
#define min(x,y) ((x) < (y) ? (x) : (y))

void maxim_heart_rate_and_oxygen_saturation(uint32_t *pun_ir_buffer, int32_t n_ir_buffer_length, uint32_t *pun_red_buffer, int32_t *pn_spo2, int8_t *pch_spo2_valid, int32_t *pn_heart_rate, int8_t *pch_hr_valid);
void maxim_find_peaks(int32_t *pn_locs, int32_t *n_npks,  int32_t  *pn_x, int32_t n_size, int32_t n_min_height, int32_t n_min_distance, int32_t n_max_num);
void maxim_peaks_above_min_height(int32_t *pn_locs, int32_t *n_npks,  int32_t  *pn_x, int32_t n_size, int32_t n_min_height);
void maxim_remove_close_peaks(int32_t *pn_locs, int32_t *pn_npks, int32_t *pn_x, int32_t n_min_distance);
void maxim_sort_ascend(int32_t  *pn_x, int32_t n_size);
void maxim_sort_indices_descend(int32_t  *pn_x, int32_t *pn_indx, int32_t n_size);

#endif /* HR_SPO2_ALGO_H_ */
```

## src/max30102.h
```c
#ifndef MAX30102_H_
#define MAX30102_H_

//////////////////////////////////////////// | Header File | ///////////////////////////////////////////////
#include<stdbool.h>
#include<stdint.h>
#include<stdio.h>

#define MAX30105_ADDRESS    0x57 //7-bit I2C Address
#define I2C_BUFFER_LENGTH 32
#define BUFFER_LENGTH 32
#define HR_Times 25
//////////////////////| Main Functions |////////////////////////
bool max30102_Begin();
void max30102_Setup();
uint32_t max30102_GetRed(void);
uint32_t max30102_GetIR(void);
uint32_t max30102_GetGreen(void);
/////////////////////| Nested Functions |//////////////////////////
void writeRegister8(uint8_t reg, uint8_t value1);
uint8_t readRegister8(uint8_t reg);
uint8_t readPartID();
void readRevisionID();
void bitMask(uint8_t reg, uint8_t mask, uint8_t thing);
void softReset(void);
void setFIFOAverage(uint8_t numberOfSamples);
void enableFIFORollover(void);
void setLEDMode(uint8_t mode);
void setADCRange(uint8_t adcRange);
void setSampleRate(uint8_t sampleRate);
void setPulseWidth(uint8_t pulseWidth);
void setPulseAmplitudeRed(uint8_t amplitude);
void setPulseAmplitudeIR(uint8_t amplitude);
void setPulseAmplitudeGreen(uint8_t amplitude);
void setPulseAmplitudeProximity(uint8_t amplitude);
void enableSlot(uint8_t slotNumber, uint8_t device);
void clearFIFO(void);
bool safeCheck(uint32_t maxTimeToCheck);
bool check(void);
uint8_t getReadPointer(void);
uint8_t getReadPointer(void);
uint8_t getWritePointer(void);
uint8_t requestFrom(uint8_t quantity);
int read(void);
void beginTransmission(void);
void write(uint8_t data);
uint32_t endTransmission(void);
uint8_t available(void);
void init_heart_rate(void);
bool get_hr_spo2(uint32_t* p_hr, uint32_t* p_spo2);
void get_stress_level(char *p_stress);
///////////////////////////////////////// | End of Header File | ///////////////////////////////////////////

#endif /* MAX30102_H_ */
```

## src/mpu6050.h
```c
#ifndef MPU6050_H__
#define MPU6050_H__

#include <stdint.h>
#include <stdbool.h>
////////////////| For testing Step Counter Algo |////////////////////
#define MPU6050_REGISTER_GYRO_CONFIG        (0x1B)
#define MPU6050_GCONFIG_FS_SEL_LENGTH       (2)
#define MPU6050_GCONFIG_FS_SEL_BIT          (4)
#define MPU6050_REGISTER_ACCEL_CONFIG       (0x1C)
#define MPU6050_ACONFIG_AFS_SEL_BIT         (4)
#define MPU6050_ACONFIG_AFS_SEL_LENGTH      (2)
#define MPU6050_REGISTER_ACCEL_XOUT_H       (0x3B)
#define MPU6050_INTERRUPT_DMP_INT_BIT       (1)
#define MPU6050_REGISTER_INT_STATUS         (0x3A)
#define AVG_BUFF_SIZE   20
typedef struct _mpu6050_acceleration_t
{
    int16_t accel_x;
    int16_t accel_y;
    int16_t accel_z;
} mpu6050_acceleration_t;
typedef struct _mpu6050_rotation_t
{
    int16_t gyro_x;
    int16_t gyro_y;
    int16_t gyro_z;
} mpu6050_rotation_t;
void esp32_i2c_read_bit
(
	uint8_t register_address,
	uint8_t bit_number,
	uint8_t* data
);
void esp32_i2c_read_bit(uint8_t register_address,uint8_t bit_number,uint8_t* data);
void esp32_i2c_read_bits(uint8_t register_address,uint8_t bit_start,uint8_t size,uint8_t* data);
bool mpu6050_get_int_dmp_status();
void mpu6050_get_acceleration(mpu6050_acceleration_t* data);
uint8_t mpu6050_get_full_scale_accel_range();
float mpu6050_get_accel_res(uint8_t accel_scale);
void mpu6050_get_rotation(mpu6050_rotation_t* data);
uint8_t mpu6050_get_full_scale_gyro_range();
void mpu6050_madgwick_quaternion_update
(float accel_x,float accel_y,float accel_z,float gyro_x,float gyro_y,float gyro_z);
const char* mpu6050_get_tag();
void step_counter(void);
void init_mpu6050(void);
void update_calories(int steps);
//////////////////| End of Step Counter Algo |///////////////////////
#define MPU6050_ADDRESS_LEN  1         //MPU6050
#define MPU6050_ADDRESS     (0xD0>>1)  //MPU6050 Device Address
#define MPU6050_WHO_AM_I     0x68U     //MPU6050 ID


#define MPU6050_GYRO_OUT        0x43
#define MPU6050_ACC_OUT         0x3B

#define ADDRESS_WHO_AM_I          (0x75U) //  WHO_AM_I register identifies the device. Expected value is 0x68.
#define ADDRESS_SIGNAL_PATH_RESET (0x68U) // 

//MPU6050 Registers addresses, see datasheet for more info and each register's function
#define MPU_SELF_TESTX_REG		0x0D	
#define MPU_SELF_TESTY_REG		0x0E	
#define MPU_SELF_TESTZ_REG		0x0F	
#define MPU_SELF_TESTA_REG		0x10	
#define MPU_SAMPLE_RATE_REG		0x19	
#define MPU_CFG_REG                     0x1A	
#define MPU_GYRO_CFG_REG		0x1B	
#define MPU_ACCEL_CFG_REG		0x1C	
#define MPU_MOTION_DET_REG		0x1F	
#define MPU_FIFO_EN_REG			0x23	
#define MPU_I2CMST_CTRL_REG		0x24	
#define MPU_I2CSLV0_ADDR_REG            0x25	
#define MPU_I2CSLV0_REG			0x26	
#define MPU_I2CSLV0_CTRL_REG            0x27	
#define MPU_I2CSLV1_ADDR_REG            0x28	
#define MPU_I2CSLV1_REG			0x29	
#define MPU_I2CSLV1_CTRL_REG            0x2A	
#define MPU_I2CSLV2_ADDR_REG            0x2B	
#define MPU_I2CSLV2_REG			0x2C	
#define MPU_I2CSLV2_CTRL_REG            0x2D	
#define MPU_I2CSLV3_ADDR_REG            0x2E	
#define MPU_I2CSLV3_REG			0x2F	
#define MPU_I2CSLV3_CTRL_REG            0x30	
#define MPU_I2CSLV4_ADDR_REG            0x31	
#define MPU_I2CSLV4_REG			0x32	
#define MPU_I2CSLV4_DO_REG		0x33	
#define MPU_I2CSLV4_CTRL_REG            0x34	
#define MPU_I2CSLV4_DI_REG		0x35	


#define MPU_PWR_MGMT1_REG		0x6B	
#define MPU_PWR_MGMT2_REG		0x6C	

#define MPU_I2CMST_STA_REG		0x36	
#define MPU_INTBP_CFG_REG		0x37	
#define MPU_INT_EN_REG			0x38	
#define MPU_INT_STA_REG			0x3A	

#define MPU_I2CMST_DELAY_REG            0x67	
#define MPU_SIGPATH_RST_REG		0x68	
#define MPU_MDETECT_CTRL_REG            0x69	
#define MPU_USER_CTRL_REG		0x6A	
#define MPU_PWR_MGMT1_REG		0x6B	
#define MPU_PWR_MGMT2_REG		0x6C	
#define MPU_FIFO_CNTH_REG		0x72	
#define MPU_FIFO_CNTL_REG		0x73	
#define MPU_FIFO_RW_REG			0x74	
#define MPU_DEVICE_ID_REG		0x75	

bool mpu6050_init(void);    // initialize the mpu6050
bool mpu6050_begin(void);

/**
  @brief Function for writing a MPU6050 register contents over TWI.
  @param[in]  register_address Register address to start writing to
  @param[in] value Value to write to register
  @retval true Register write succeeded
  @retval false Register write failed
*/
bool mpu6050_register_write(uint8_t register_address, const uint8_t value);

/**
  @brief Function for reading MPU6050 register contents over TWI.
  Reads one or more consecutive registers.
  @param[in]  register_address Register address to start reading from
  @param[in]  number_of_bytes Number of bytes to read
  @param[out] destination Pointer to a data buffer where read data will be stored
  @retval true Register read succeeded
  @retval false Register read failed
*/
bool mpu6050_register_read(uint8_t register_address, uint8_t *destination, uint8_t number_of_bytes);

/**
  @brief Function for reading and verifying MPU6050 product ID.
  @retval true Product ID is what was expected
  @retval false Product ID was not what was expected
*/
bool mpu6050_verify_product_id(void);


bool MPU6050_ReadGyro(int16_t *pGYRO_X , int16_t *pGYRO_Y , int16_t *pGYRO_Z );
bool MPU6050_ReadAcc( int16_t *pACC_X , int16_t *pACC_Y , int16_t *pACC_Z );
bool awakeCheck(int16_t zeeValue);

#endif
```

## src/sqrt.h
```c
/* 
The MIT License (MIT)

Copyright (c) 2020 Anna Brondin and Marcus Nordström

Permission is hereby granted, free of charge, to any person obtaining a copy
of this software and associated documentation files (the "Software"), to deal
in the Software without restriction, including without limitation the rights
to use, copy, modify, merge, publish, distribute, sublicense, and/or sell
copies of the Software, and to permit persons to whom the Software is
furnished to do so, subject to the following conditions:

The above copyright notice and this permission notice shall be included in all
copies or substantial portions of the Software.

THE SOFTWARE IS PROVIDED "AS IS", WITHOUT WARRANTY OF ANY KIND, EXPRESS OR
IMPLIED, INCLUDING BUT NOT LIMITED TO THE WARRANTIES OF MERCHANTABILITY,
FITNESS FOR A PARTICULAR PURPOSE AND NONINFRINGEMENT. IN NO EVENT SHALL THE
AUTHORS OR COPYRIGHT HOLDERS BE LIABLE FOR ANY CLAIM, DAMAGES OR OTHER
LIABILITY, WHETHER IN AN ACTION OF CONTRACT, TORT OR OTHERWISE, ARISING FROM,
OUT OF OR IN CONNECTION WITH THE SOFTWARE OR THE USE OR OTHER DEALINGS IN THE
SOFTWARE.
*/
#ifndef STEP_COUNTING_ALGO_UTILS_H
#define STEP_COUNTING_ALGO_UTILS_H
#include <stdint.h>

static int64_t sqrt(int64_t number)
{
  int64_t base, i, y;
  base = 67108864; //2^24
  y = 0;
  for (i = 1; i <= 24; i++)
  {
    y += base;
    if ((y * y) > number)
    {
      y -= base; // base should not have been added, so we substract again
    }
    base = base >> 1; // shift 1 digit to the right = divide by 2
  }
  return y;
}

/*static long isqrt(long number)
{ //http://www.codecodex.com/wiki/Calculate_an_integer_square_root#C
  unsigned long n = 1;
  unsigned long n1 = ((n + (number / n)) >> 1);

  while (n1 - n > 1)
  {
    n = n1;
    n1 = ((n + (number / n)) >> 1);
  }
  while (n1 * n1 > number)
    n1--;
  return (long)n1;
}*/
#endif
```
